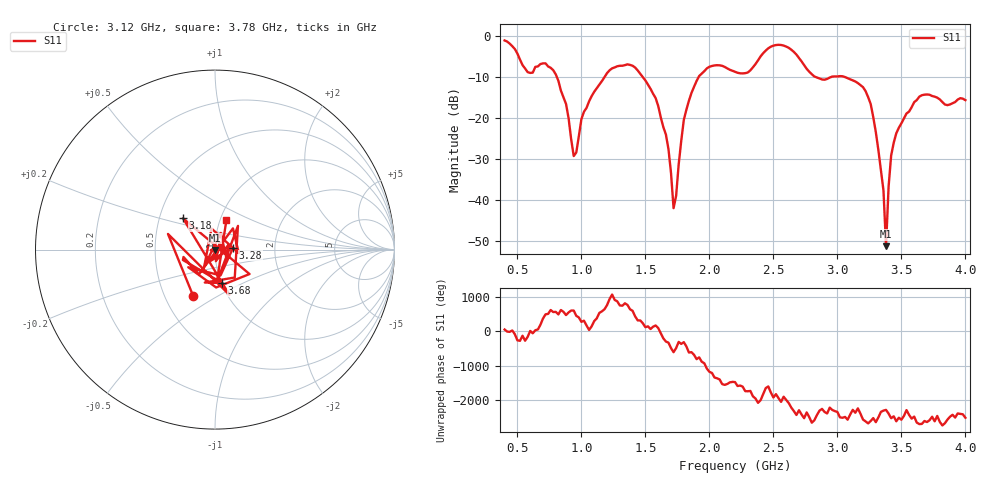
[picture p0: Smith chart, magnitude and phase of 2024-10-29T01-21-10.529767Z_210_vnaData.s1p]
!Created with skrf (http://scikit-rf.org).
# Hz S RI R 50.0
!freq ReS11 ImS11
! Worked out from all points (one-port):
!   181 points, 400 MHz to 4 GHz, reference 50 ohm
!   lowest |S11| = -51.2 dB at 3.38 GHz (marker M1), VSWR 1.01, Z = 49.9 - j0.244 ohm
!   |S11| at or under -10 dB: 807 MHz to 1.183 GHz (376 MHz wide, 37.8 % of centre); 1.478 GHz to 1.918 GHz (439.2 MHz wide, 25.9 % of centre); 3.049 GHz to end of sweep (the widest 3 of 4)
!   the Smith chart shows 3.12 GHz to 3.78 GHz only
!   S11 on the Smith chart (normalised r, x): 3.12 GHz: 0.69, -0.39; 3.18 GHz: 0.66, +0.25; 3.28 GHz: 1.23, +0.03; 3.68 GHz: 1.01, -0.39; 3.78 GHz: 1.07, +0.36
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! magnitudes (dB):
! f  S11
! 400 MHz  -1.2
! 580 MHz  -8.9
! 780 MHz  -8.4
! 860 MHz  -15.0
! 940 MHz  -29.3
! 1.08 GHz  -14.7
! 1.3 GHz  -7.4
! 1.58 GHz  -15.2
! 1.68 GHz  -27.6
! 1.72 GHz  -42.0
! 1.76 GHz  -31.3
! 1.8 GHz  -20.5
! 1.92 GHz  -9.9
! 2.2 GHz  -8.8
! 2.66 GHz  -4.0
! 2.82 GHz  -10.0
! 3.1 GHz  -10.7
! 3.12 GHz  -10.9
! 3.18 GHz  -12.1
! 3.28 GHz  -19.8
! 3.36 GHz  -37.7
! 3.38 GHz  -51.2
! 3.4 GHz  -36.8
! 3.42 GHz  -29.2
! 3.56 GHz  -18.5
! 3.68 GHz  -14.4
! 3.78 GHz  -15.1
! 4 GHz  -15.7
